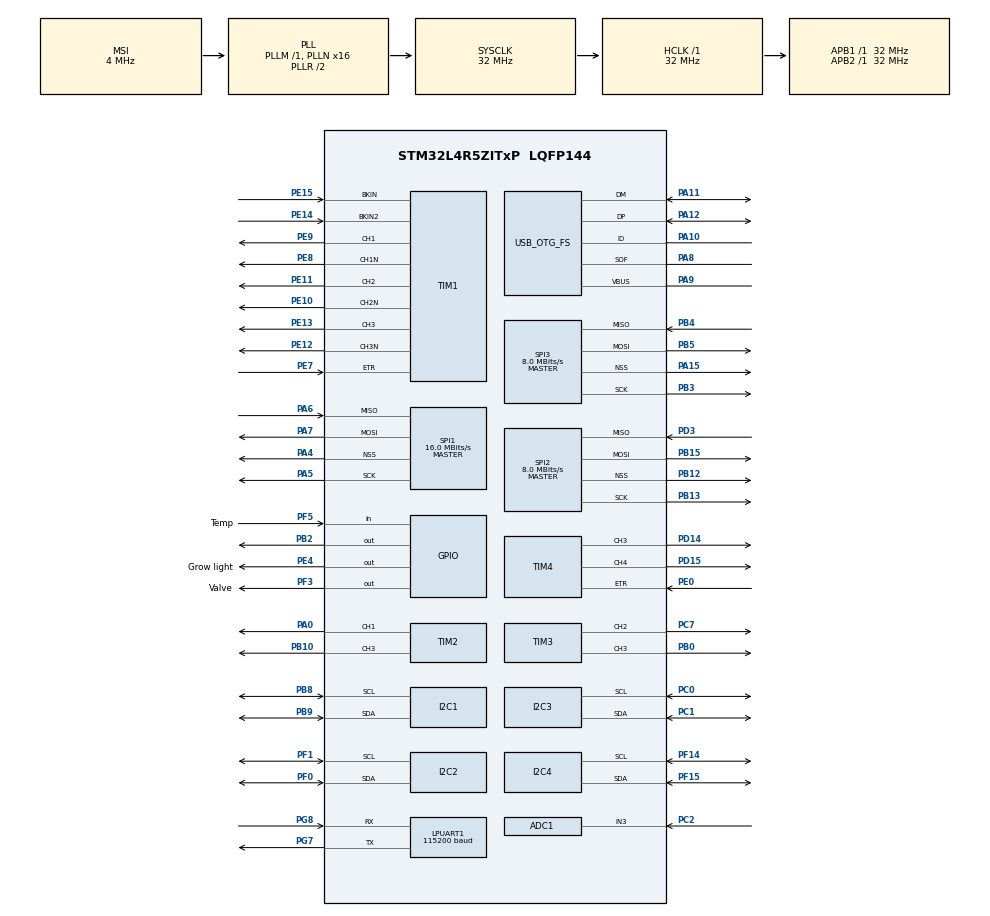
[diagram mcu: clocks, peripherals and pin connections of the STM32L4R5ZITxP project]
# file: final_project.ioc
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ADC1.Channel-0\#ChannelRegularConversion=ADC_CHANNEL_3
ADC1.NbrOfConversionFlag=1
ADC1.OffsetNumber-0\#ChannelRegularConversion=ADC_OFFSET_NONE
ADC1.Rank-0\#ChannelRegularConversion=1
ADC1.SamplingTime-0\#ChannelRegularConversion=ADC_SAMPLETIME_2CYCLES_5
ADC1.master=1
I2C1.Timeout=0x00008186
I2C1.Timing=0x00B07CB4
I2C2.Timing=0x00B07CB4
I2C3.Timing=0x00B07CB4
I2C4.Timing=0x00B07CB4
LPUART1.BaudRate=115200
LPUART1.WordLength=UART_WORDLENGTH_8B
Mcu.Family=STM32L4
Mcu.Name=STM32L4R5ZITxP
Mcu.Package=LQFP144
NVIC.PriorityGroup=NVIC_PRIORITYGROUP_4
PA0.Signal=S_TIM2_CH1
PA1.Signal=ADCx_IN6
PA10.Mode=OTG/Dual_Role_Device
PA10.Signal=USB_OTG_FS_ID
PA11.Mode=OTG/Dual_Role_Device
PA11.Signal=USB_OTG_FS_DM
PA12.Mode=OTG/Dual_Role_Device
PA12.Signal=USB_OTG_FS_DP
PA13\ (JTMS/SWDIO).Mode=Serial_Wire
PA13\ (JTMS/SWDIO).Signal=SYS_JTMS-SWDIO
PA14\ (JTCK/SWCLK).Mode=Serial_Wire
PA14\ (JTCK/SWCLK).Signal=SYS_JTCK-SWCLK
PA15\ (JTDI).Mode=NSS_Signal_Hard_Output
PA15\ (JTDI).Signal=SPI3_NSS
PA3.Signal=ADCx_IN8
PA4.Mode=NSS_Signal_Hard_Output
PA4.Signal=SPI1_NSS
PA5.Mode=Full_Duplex_Master
PA5.Signal=SPI1_SCK
PA6.Mode=Full_Duplex_Master
PA6.Signal=SPI1_MISO
PA7.Mode=Full_Duplex_Master
PA7.Signal=SPI1_MOSI
PA8.Mode=Activate_SOF_FS
PA8.Signal=USB_OTG_FS_SOF
PA9.Mode=Activate_VBUS
PA9.Signal=USB_OTG_FS_VBUS
PB0.Signal=S_TIM3_CH3
PB1.Signal=ADCx_IN16
PB10.Signal=S_TIM2_CH3
PB12.Mode=NSS_Signal_Hard_Output
PB12.Signal=SPI2_NSS
PB13.Mode=Full_Duplex_Master
PB13.Signal=SPI2_SCK
PB15.Mode=Full_Duplex_Master
PB15.Signal=SPI2_MOSI
PB2.Signal=GPIO_Output
PB3\ (JTDO/TRACESWO).Mode=Full_Duplex_Master
PB3\ (JTDO/TRACESWO).Signal=SPI3_SCK
PB4\ (NJTRST).Mode=Full_Duplex_Master
PB4\ (NJTRST).Signal=SPI3_MISO
PB5.Mode=Full_Duplex_Master
PB5.Signal=SPI3_MOSI
PB6.Signal=COMP2_INP
PB8.GPIO_Pu=GPIO_PULLUP
PB8.Mode=I2C
PB8.Signal=I2C1_SCL
PB9.GPIO_Pu=GPIO_PULLUP
PB9.Mode=I2C
PB9.Signal=I2C1_SDA
PC0.Mode=I2C
PC0.Signal=I2C3_SCL
PC1.Mode=I2C
PC1.Signal=I2C3_SDA
PC10.Signal=SDMMC1_D2
PC11.Signal=SDMMC1_D3
PC12.Signal=SDMMC1_CK
PC13.Mode=SYS_WakeUp1
PC13.Signal=SYS_WKUP2
PC14-OSC32_IN\ (PC14).Mode=LSE-External-Oscillator
PC14-OSC32_IN\ (PC14).Signal=RCC_OSC32_IN
PC15-OSC32_OUT\ (PC15).Mode=LSE-External-Oscillator
PC15-OSC32_OUT\ (PC15).Signal=RCC_OSC32_OUT
PC2.Signal=ADCx_IN3
PC3.Signal=ADCx_IN4
PC4.Signal=ADCx_IN13
PC5.Signal=ADCx_IN14
PC6.Signal=SAI2_MCLK_A
PC7.Signal=S_TIM3_CH2
PC8.Signal=SDMMC1_D0
PC9.Signal=SDMMC1_D1
PD0.Signal=CAN1_RX
PD14.Signal=S_TIM4_CH3
PD15.Signal=S_TIM4_CH4
PD2.Signal=SDMMC1_CMD
PD3.Mode=Full_Duplex_Master
PD3.Signal=SPI2_MISO
PD4.Signal=USART2_RTS
PD5.Signal=USART2_TX
PD6.Signal=USART2_RX
PD8.Signal=USART3_TX
PD9.Signal=USART3_RX
PE0.Signal=S_TIM4_ETR
PE10.Mode=PWM Generation2 CH2 CH2N
PE10.Signal=TIM1_CH2N
PE11.Signal=S_TIM1_CH2
PE12.Mode=PWM Generation3 CH3 CH3N
PE12.Signal=TIM1_CH3N
PE13.Signal=S_TIM1_CH3
PE14.Mode=Activate-Break-Input-2
PE14.Signal=TIM1_BKIN2
PE15.Mode=Activate-Break-Input
PE15.Signal=TIM1_BKIN
PE2.Signal=SAI1_MCLK_A
PE3.Signal=SAI1_SD_B
PE4.GPIO_Label=Grow light
PE4.Signal=GPIO_Output
PE7.Signal=S_TIM1_ETR
PE8.Mode=PWM Generation1 CH1 CH1N
PE8.Signal=TIM1_CH1N
PE9.Signal=S_TIM1_CH1
PF0.GPIO_Pu=GPIO_PULLUP
PF0.Mode=I2C
PF0.Signal=I2C2_SDA
PF1.GPIO_Pu=GPIO_PULLUP
PF1.Mode=I2C
PF1.Signal=I2C2_SCL
PF14.Mode=I2C
PF14.Signal=I2C4_SCL
PF15.Mode=I2C
PF15.Signal=I2C4_SDA
PF2.GPIO_Pu=GPIO_PULLUP
PF2.Signal=I2C2_SMBA
PF3.GPIO_Label=Valve
PF3.Signal=GPIO_Output
PF5.GPIO_Label=Temp
PF5.Signal=GPIO_Input
PF7.Signal=SAI1_MCLK_B
PG7.Mode=Asynchronous
PG7.Signal=LPUART1_TX
PG8.Mode=Asynchronous
PG8.Signal=LPUART1_RX
PH0-OSC_IN\ (PH0).Mode=HSE-External-Oscillator
PH0-OSC_IN\ (PH0).Signal=RCC_OSC_IN
PH1-OSC_OUT\ (PH1).Mode=HSE-External-Oscillator
PH1-OSC_OUT\ (PH1).Signal=RCC_OSC_OUT
ProjectManager.HeapSize=0x200
ProjectManager.StackSize=0x400
ProjectManager.TargetToolchain=STM32CubeIDE
RCC.ADCFreq_Value=48000000
RCC.AHBFreq_Value=32000000
RCC.APB1Freq_Value=32000000
RCC.APB1TimFreq_Value=32000000
RCC.APB2Freq_Value=32000000
RCC.APB2TimFreq_Value=32000000
RCC.CortexFreq_Value=32000000
RCC.HCLKFreq_Value=32000000
RCC.HSE_VALUE=8000000
RCC.HSI48_VALUE=48000000
RCC.HSI_VALUE=16000000
RCC.MSI_VALUE=4000000
RCC.PLLN=16
RCC.PLLSAI1N=24
RCC.SYSCLKFreq_VALUE=32000000
RCC.SYSCLKSource=RCC_SYSCLKSOURCE_PLLCLK
RCC.USBFreq_Value=48000000
RCC.VCOOutputFreq_Value=64000000
SH.ADCx_IN13.0=ADC1_IN13
SH.ADCx_IN14.0=ADC1_IN14
SH.ADCx_IN16.0=ADC1_IN16
SH.ADCx_IN3.0=ADC1_IN3,IN3-Single-Ended
SH.ADCx_IN4.0=ADC1_IN4
SH.ADCx_IN6.0=ADC1_IN6
SH.ADCx_IN8.0=ADC1_IN8
SH.S_TIM1_CH1.0=TIM1_CH1,PWM Generation1 CH1 CH1N
SH.S_TIM1_CH2.0=TIM1_CH2,PWM Generation2 CH2 CH2N
SH.S_TIM1_CH3.0=TIM1_CH3,PWM Generation3 CH3 CH3N
SH.S_TIM1_ETR.0=TIM1_ETR,ETR-as-clearing-source
SH.S_TIM2_CH1.0=TIM2_CH1,PWM Generation1 CH1
SH.S_TIM2_CH3.0=TIM2_CH3,PWM Generation3 CH3
SH.S_TIM3_CH2.0=TIM3_CH2,PWM Generation2 CH2
SH.S_TIM3_CH3.0=TIM3_CH3,PWM Generation3 CH3
SH.S_TIM4_CH3.0=TIM4_CH3,PWM Generation3 CH3
SH.S_TIM4_CH4.0=TIM4_CH4,PWM Generation4 CH4
SH.S_TIM4_ETR.0=TIM4_ETR,ETR-as-clearing-source
SPI1.BaudRatePrescaler=SPI_BAUDRATEPRESCALER_2
SPI1.CalculateBaudRate=16.0 MBits/s
SPI1.DataSize=SPI_DATASIZE_8BIT
SPI1.Direction=SPI_DIRECTION_2LINES
SPI1.Mode=SPI_MODE_MASTER
SPI1.NSSPMode=SPI_NSS_PULSE_DISABLE
SPI1.VirtualNSS=VM_NSSHARD
SPI1.VirtualType=VM_MASTER
SPI2.BaudRatePrescaler=SPI_BAUDRATEPRESCALER_4
SPI2.CalculateBaudRate=8.0 MBits/s
SPI2.DataSize=SPI_DATASIZE_8BIT
SPI2.Direction=SPI_DIRECTION_2LINES
SPI2.Mode=SPI_MODE_MASTER
SPI2.NSSPMode=SPI_NSS_PULSE_DISABLE
SPI2.VirtualNSS=VM_NSSHARD
SPI2.VirtualType=VM_MASTER
SPI3.BaudRatePrescaler=SPI_BAUDRATEPRESCALER_4
SPI3.CalculateBaudRate=8.0 MBits/s
SPI3.DataSize=SPI_DATASIZE_8BIT
SPI3.Direction=SPI_DIRECTION_2LINES
SPI3.Mode=SPI_MODE_MASTER
SPI3.NSSPMode=SPI_NSS_PULSE_DISABLE
SPI3.VirtualNSS=VM_NSSHARD
SPI3.VirtualType=VM_MASTER
TIM1.Channel-PWM\ Generation1\ CH1\ CH1N=TIM_CHANNEL_1
TIM1.Channel-PWM\ Generation2\ CH2\ CH2N=TIM_CHANNEL_2
TIM1.Channel-PWM\ Generation3\ CH3\ CH3N=TIM_CHANNEL_3
TIM2.Channel-PWM\ Generation1\ CH1=TIM_CHANNEL_1
TIM2.Channel-PWM\ Generation3\ CH3=TIM_CHANNEL_3
TIM3.Channel-PWM\ Generation2\ CH2=TIM_CHANNEL_2
TIM3.Channel-PWM\ Generation3\ CH3=TIM_CHANNEL_3
TIM4.Channel-PWM\ Generation3\ CH3=TIM_CHANNEL_3
TIM4.Channel-PWM\ Generation4\ CH4=TIM_CHANNEL_4
board=NUCLEO-L4R5ZI-P

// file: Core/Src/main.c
/* USER CODE BEGIN Header */
/**
 ******************************************************************************
 * @file           : main.c
 * @brief          : Main program body
 ******************************************************************************
 * @attention
 *
 * Copyright (c) 2025 STMicroelectronics.
 * All rights reserved.
 *
 * This software is licensed under terms that can be found in the LICENSE file
 * in the root directory of this software component.
 * If no LICENSE file comes with this software, it is provided AS-IS.
 *
 ******************************************************************************
 */
/* USER CODE END Header */
#include "main.h"
#include "adc.h"
#include "gpio.h"
#include "i2c.h"
#include "spi.h"
#include "tim.h"
#include "usart.h"
#include "usb_otg.h"

/* USER CODE BEGIN Includes */

// std
#include <math.h>
#include <stdint.h>
#include <stdio.h>
#include <string.h>

// display
#include "bigdisplay.h"
// touch
#include "touch.h"
// temp and humidity
#include "si7021.h"
// soil
#include "soil.h"
// light sensor
#include "lightsensor.h"
// pump
#include "pump.h"
// camera
#include "camera.h"

/* USER CODE END Includes */

/* USER CODE BEGIN PV */

// idle = 1: idle and free to receive fast interrupts
int idle = 1;

// Tamagotchi feeling: 1 happy, 0 sad
int tamagotchi_feeling = 1;

/* USER CODE END PV */

void SystemClock_Config(void);
void PeriphCommonClock_Config(void);
/* USER CODE BEGIN PFP */

void draw_screen(void);

/* USER CODE END PFP */

/* USER CODE BEGIN 0 */

int __io_putchar(int ch) {
  HAL_UART_Transmit(&hlpuart1, (uint8_t *)&ch, 1, 10);
  return ch;
}

float hum_air = 0.0f;
float temp_air = 0.0f;
uint16_t cap_soil = 0;
float temp_soil = 0.0f;
uint16_t light_value = 0;
int hum_air_int;
int temp_air_int;
int temp_soil_int;
int avg_temp;
int avg_temp_f;

int water_interval_days = 7;
int wet_threshold = 800;
int light_threshold = 1000;

// Button dimensions
int button_width = 40;
int button_height = 30;

// Water interval buttons (horizontal layout, positioned to right of camera)
int water_interval_minus_x = 290;
int water_interval_minus_y = 100;
int water_interval_plus_x = 430;
int water_interval_plus_y = 100;

// Wet threshold buttons (horizontal layout)
int wet_threshold_minus_x = 290;
int wet_threshold_minus_y = 140;
int wet_threshold_plus_x = 430;
int wet_threshold_plus_y = 140;

// Light threshold buttons (horizontal layout)
int light_threshold_minus_x = 290;
int light_threshold_minus_y = 180;
int light_threshold_plus_x = 430;
int light_threshold_plus_y = 180;

// Water now button
int water_now_x = 290;
int water_now_y = 220;
/* USER CODE END 0 */

int main(void) {

  /* MCU Configuration--------------------------------------------------------*/

  /* Reset of all peripherals, Initializes the Flash interface and the Systick.
   */
  HAL_Init();

  /* Configure the system clock */
  SystemClock_Config();

  /* Configure the peripherals common clocks */
  PeriphCommonClock_Config();

  /* Initialize all configured peripherals */
  MX_GPIO_Init();
  MX_ADC1_Init();
  MX_SPI1_Init();
  MX_SPI2_Init();
  MX_SPI3_Init();
  MX_I2C1_Init();
  MX_I2C2_Init();
  MX_I2C3_Init();
  MX_I2C4_Init();
  MX_LPUART1_UART_Init();
  MX_TIM1_Init();
  MX_TIM2_Init();
  MX_TIM3_Init();
  MX_TIM4_Init();
  MX_USB_OTG_FS_USB_Init();
  /* USER CODE BEGIN 2 */

  ArduCam_Init_YCbCr();

  printf("Hello from Nucleo-L4R5ZI-P!\r\n");
  // pump
  pump_init();

  // screen
  TFT_Init();

  if (HAL_I2C_IsDeviceReady(&hi2c2, SOIL_ADDR, 3, 100) == HAL_OK)
    printf("Soil sensor detected\r\n");
  else
    printf("Soil sensor NOT detected\r\n");

  if (TOUCH_Init() != HAL_OK) {
    printf("Touch controller init FAILED\r\n");
  } else {
    printf("Touch controller init OK\r\n");
  }

  uint16_t read_value = 0;
  // initialize
  bh1750_init(BH1750_ADDR);

  hum_air = 0.0f;
  temp_air = 0.0f;
  cap_soil = 0;
  temp_soil = 0.0f;
  light_value = 0;

  TFT_FillScreen(COLOR_WHITE);

  int photo_cycle = 0;

  /* USER CODE END 2 */

  /* Infinite loop */
  while (1) {

    /* USER CODE BEGIN 3 */

    // Take a photo and draw it every 10 cycles
    if (photo_cycle <= 0) {
      SingleCapTransfer_YCbCr(0, 0, camera_buf);
      TFT_DrawRGB888Buffer(20, 100, 320, 240, camera_buf, 2);
      photo_cycle = 10;
    } else {
      photo_cycle--;
    }

    hum_air = si7021_read_humidity();
    temp_air = si7021_read_temperature();

    // Read soil sensor
    cap_soil = soil_read_capacitance();
    temp_soil = soil_read_temperature();
    hum_air_int = (int)hum_air;
    temp_air_int = (int)temp_air;
    temp_soil_int = (int)temp_soil;
    avg_temp = (temp_air_int + temp_soil_int) / 2;
    avg_temp_f = (temp_air_int + temp_soil_int) / 2 * 9 / 5 + 32;

    light_value = bh1750_read(BH1750_ADDR);

    // print values of sensors
    printf("AirRH: %d %%  \r\n", hum_air_int);
    printf("AirTemp: %d C \r\n", temp_air_int);
    printf("SoilCap: %u  \r\n", cap_soil);
    printf("SoilTemp: %d C\r\n", temp_soil_int);
    printf("Light: %u  \r\n", light_value);

    int moisture_good = 1;
    if (cap_soil < wet_threshold) {
      moisture_good = 0;
    }

    int light_good = 1;
    if (light_value < light_threshold) {
      light_good = 0;
    }

    TFT_PrintfAt(50, 10, COLOR_BLACK, 3, "TAMAGOTCHI FLOWER POT");

    TFT_FillRect(90, 240, 150, 20, COLOR_WHITE);
    if (moisture_good) {
      TFT_PrintfAt(10, 240, COLOR_BLACK, 2, "Water: Wet (%d) \r\n", cap_soil);
    } else {
      TFT_PrintfAt(10, 240, COLOR_BLACK, 2, "Water: Dry (%d) \r\n", cap_soil);
    }

    TFT_FillRect(90, 260, 180, 20, COLOR_WHITE);
    if (light_good) {
      TFT_PrintfAt(10, 260, COLOR_BLACK, 2, "Light: Bright (%d) \r\n",
                   light_value);
    } else {
      TFT_PrintfAt(10, 260, COLOR_BLACK, 2, "Light: Dim (%d) \r\n",
                   light_value);
    }

    TFT_FillRect(120, 280, 60, 20, COLOR_WHITE);
    TFT_PrintfAt(10, 280, COLOR_BLACK, 2, "Humidity: %d%% \r\n", hum_air_int);

    TFT_FillRect(10, 300, 150, 20, COLOR_WHITE);
    TFT_PrintfAt(10, 300, COLOR_BLACK, 2, "%d C %d F \r\n", avg_temp,
                 avg_temp_f);

    // Draw all buttons
    // Water interval buttons
    TFT_FillRect(water_interval_minus_x - 1, water_interval_minus_y - 1,
                 button_width + 2, button_height + 2, COLOR_BLACK);
    TFT_FillRect(water_interval_minus_x, water_interval_minus_y, button_width,
                 button_height, COLOR_RED);
    TFT_PrintfAt(water_interval_minus_x + 15, water_interval_minus_y + 8,
                 COLOR_BLACK, 2, "-");

    TFT_FillRect(water_interval_plus_x - 1, water_interval_plus_y - 1,
                 button_width + 2, button_height + 2, COLOR_BLACK);
    TFT_FillRect(water_interval_plus_x, water_interval_plus_y, button_width,
                 button_height, COLOR_GREEN);
    TFT_PrintfAt(water_interval_plus_x + 15, water_interval_plus_y + 8,
                 COLOR_BLACK, 2, "+");

    // Draw label for water interval
    TFT_FillRect(water_interval_minus_x + button_width + 5,
                 water_interval_minus_y, 70, 20, COLOR_WHITE);
    TFT_PrintfAt(water_interval_minus_x + button_width + 5,
                 water_interval_minus_y, COLOR_BLACK, 2, "%d days",
                 water_interval_days);

    // Wet threshold buttons
    TFT_FillRect(wet_threshold_minus_x - 1, wet_threshold_minus_y - 1,
                 button_width + 2, button_height + 2, COLOR_BLACK);
    TFT_FillRect(wet_threshold_minus_x, wet_threshold_minus_y, button_width,
                 button_height, COLOR_RED);
    TFT_PrintfAt(wet_threshold_minus_x + 15, wet_threshold_minus_y + 8,
                 COLOR_BLACK, 2, "-");

    TFT_FillRect(wet_threshold_plus_x - 1, wet_threshold_plus_y - 1,
                 button_width + 2, button_height + 2, COLOR_BLACK);
    TFT_FillRect(wet_threshold_plus_x, wet_threshold_plus_y, button_width,
                 button_height, COLOR_GREEN);
    TFT_PrintfAt(wet_threshold_plus_x + 15, wet_threshold_plus_y + 8,
                 COLOR_BLACK, 2, "+");

    // Draw label for wet threshold
    TFT_FillRect(wet_threshold_minus_x + button_width + 5,
                 wet_threshold_minus_y, 70, 20, COLOR_WHITE);
    TFT_PrintfAt(wet_threshold_minus_x + button_width + 5,
                 wet_threshold_minus_y, COLOR_BLACK, 2, "W: %d", wet_threshold);

    // Light threshold buttons
    TFT_FillRect(light_threshold_minus_x - 1, light_threshold_minus_y - 1,
                 button_width + 2, button_height + 2, COLOR_BLACK);
    TFT_FillRect(light_threshold_minus_x, light_threshold_minus_y, button_width,
                 button_height, COLOR_RED);
    TFT_PrintfAt(light_threshold_minus_x + 15, light_threshold_minus_y + 8,
                 COLOR_BLACK, 2, "-");

    TFT_FillRect(light_threshold_plus_x - 1, light_threshold_plus_y - 1,
                 button_width + 2, button_height + 2, COLOR_BLACK);
    TFT_FillRect(light_threshold_plus_x, light_threshold_plus_y, button_width,
                 button_height, COLOR_GREEN);
    TFT_PrintfAt(light_threshold_plus_x + 15, light_threshold_plus_y + 8,
                 COLOR_BLACK, 2, "+");

    // Draw label for light threshold
    TFT_FillRect(light_threshold_minus_x + button_width + 5,
                 light_threshold_minus_y, 90, 20, COLOR_WHITE);
    TFT_PrintfAt(light_threshold_minus_x + button_width + 5,
                 light_threshold_minus_y, COLOR_BLACK, 2, "L: %d",
                 light_threshold);

    // Water now button (spans from left of - button to right of + button)
    int water_button_width =
        (water_interval_plus_x + button_width) - water_now_x;
    TFT_FillRect(water_now_x - 1, water_now_y - 1, water_button_width + 2,
                 button_height + 2, COLOR_BLACK);
    TFT_FillRect(water_now_x, water_now_y, water_button_width, button_height,
                 COLOR_GREEN);
    TFT_PrintfAt(water_now_x + (water_button_width / 2) - 35, water_now_y + 6,
                 COLOR_BLACK, 2, "Water");

    tamagotchi_feeling = 0;
    if (light_good) {
      tamagotchi_feeling = 1;
    }

    TFT_FillRect(10, 70, 300, 30, COLOR_WHITE);
    if (tamagotchi_feeling == 1) {
      TFT_PrintfAt(10, 70, COLOR_BLACK, 3, "Plant is happy :)");
    } else {
      TFT_PrintfAt(10, 70, COLOR_BLACK, 3, "Plant is sad :(");
    }
  }
  /* USER CODE END 3 */
}

void SystemClock_Config(void) {
  RCC_OscInitTypeDef RCC_OscInitStruct = {0};
  RCC_ClkInitTypeDef RCC_ClkInitStruct = {0};

  /** Configure the main internal regulator output voltage
   */
  if (HAL_PWREx_ControlVoltageScaling(PWR_REGULATOR_VOLTAGE_SCALE1) != HAL_OK) {
    Error_Handler();
  }

  /** Configure LSE Drive Capability
   */
  HAL_PWR_EnableBkUpAccess();
  __HAL_RCC_LSEDRIVE_CONFIG(RCC_LSEDRIVE_LOW);

  /** Initializes the RCC Oscillators according to the specified parameters
   * in the RCC_OscInitTypeDef structure.
   */
  RCC_OscInitStruct.OscillatorType =
      RCC_OSCILLATORTYPE_LSE | RCC_OSCILLATORTYPE_MSI;
  RCC_OscInitStruct.LSEState = RCC_LSE_ON;
  RCC_OscInitStruct.MSIState = RCC_MSI_ON;
  RCC_OscInitStruct.MSICalibrationValue = 0;
  RCC_OscInitStruct.MSIClockRange = RCC_MSIRANGE_6;
  RCC_OscInitStruct.PLL.PLLState = RCC_PLL_ON;
  RCC_OscInitStruct.PLL.PLLSource = RCC_PLLSOURCE_MSI;
  RCC_OscInitStruct.PLL.PLLM = 1;
  RCC_OscInitStruct.PLL.PLLN = 16;
  RCC_OscInitStruct.PLL.PLLP = RCC_PLLP_DIV2;
  RCC_OscInitStruct.PLL.PLLQ = RCC_PLLQ_DIV2;
  RCC_OscInitStruct.PLL.PLLR = RCC_PLLR_DIV2;
  if (HAL_RCC_OscConfig(&RCC_OscInitStruct) != HAL_OK) {
    Error_Handler();
  }

  /** Initializes the CPU, AHB and APB buses clocks
   */
  RCC_ClkInitStruct.ClockType = RCC_CLOCKTYPE_HCLK | RCC_CLOCKTYPE_SYSCLK |
                                RCC_CLOCKTYPE_PCLK1 | RCC_CLOCKTYPE_PCLK2;
  RCC_ClkInitStruct.SYSCLKSource = RCC_SYSCLKSOURCE_PLLCLK;
  RCC_ClkInitStruct.AHBCLKDivider = RCC_SYSCLK_DIV1;
  RCC_ClkInitStruct.APB1CLKDivider = RCC_HCLK_DIV1;
  RCC_ClkInitStruct.APB2CLKDivider = RCC_HCLK_DIV1;

  if (HAL_RCC_ClockConfig(&RCC_ClkInitStruct, FLASH_LATENCY_1) != HAL_OK) {
    Error_Handler();
  }

  /** Enable MSI Auto calibration
   */
  HAL_RCCEx_EnableMSIPLLMode();
}

void PeriphCommonClock_Config(void) {
  RCC_PeriphCLKInitTypeDef PeriphClkInit = {0};

  /** Initializes the peripherals clock
   */
  PeriphClkInit.PeriphClockSelection = RCC_PERIPHCLK_USB | RCC_PERIPHCLK_ADC;
  PeriphClkInit.AdcClockSelection = RCC_ADCCLKSOURCE_PLLSAI1;
  PeriphClkInit.UsbClockSelection = RCC_USBCLKSOURCE_PLLSAI1;
  PeriphClkInit.PLLSAI1.PLLSAI1Source = RCC_PLLSOURCE_MSI;
  PeriphClkInit.PLLSAI1.PLLSAI1M = 1;
  PeriphClkInit.PLLSAI1.PLLSAI1N = 24;
  PeriphClkInit.PLLSAI1.PLLSAI1P = RCC_PLLP_DIV2;
  PeriphClkInit.PLLSAI1.PLLSAI1Q = RCC_PLLQ_DIV2;
  PeriphClkInit.PLLSAI1.PLLSAI1R = RCC_PLLR_DIV2;
  PeriphClkInit.PLLSAI1.PLLSAI1ClockOut =
      RCC_PLLSAI1_48M2CLK | RCC_PLLSAI1_ADC1CLK;
  if (HAL_RCCEx_PeriphCLKConfig(&PeriphClkInit) != HAL_OK) {
    Error_Handler();
  }
}

/* USER CODE BEGIN 4 */

// touch callback
void HAL_GPIO_EXTI_Callback(uint16_t GPIO_Pin) {

  if (idle == 0) {
    return;
  }
  if (GPIO_Pin == TOUCH_INT_Pin) {
    idle = 0;
    TOUCH_TouchPoint tp;
    if (TOUCH_ReadTouch(&tp) == HAL_OK && tp.touched) {
      printf("Touch: x=%u y=%u\r\n", tp.x, tp.y);

      // Water interval minus button
      if (tp.x >= water_interval_minus_x &&
          tp.x <= water_interval_minus_x + button_width &&
          tp.y >= water_interval_minus_y &&
          tp.y <= water_interval_minus_y + button_height) {
        printf("Water interval minus pressed\r\n");
        if (water_interval_days > 1) {
          water_interval_days--;
        }
        HAL_Delay(200);
      }
      // Water interval plus button
      else if (tp.x >= water_interval_plus_x &&
               tp.x <= water_interval_plus_x + button_width &&
               tp.y >= water_interval_plus_y &&
               tp.y <= water_interval_plus_y + button_height) {
        printf("Water interval plus pressed\r\n");
        water_interval_days++;
        HAL_Delay(200);
      }
      // Wet threshold minus button
      else if (tp.x >= wet_threshold_minus_x &&
               tp.x <= wet_threshold_minus_x + button_width &&
               tp.y >= wet_threshold_minus_y &&
               tp.y <= wet_threshold_minus_y + button_height) {
        printf("Wet threshold minus pressed\r\n");
        if (wet_threshold > 100) {
          wet_threshold -= 50;
        }
        HAL_Delay(200);
      }
      // Wet threshold plus button
      else if (tp.x >= wet_threshold_plus_x &&
               tp.x <= wet_threshold_plus_x + button_width &&
               tp.y >= wet_threshold_plus_y &&
               tp.y <= wet_threshold_plus_y + button_height) {
        printf("Wet threshold plus pressed\r\n");
        wet_threshold += 50;
        HAL_Delay(200);
      }
      // Light threshold minus button
      else if (tp.x >= light_threshold_minus_x &&
               tp.x <= light_threshold_minus_x + button_width &&
               tp.y >= light_threshold_minus_y &&
               tp.y <= light_threshold_minus_y + button_height) {
        printf("Light threshold minus pressed\r\n");
        if (light_threshold > 100) {
          light_threshold -= 100;
        }
        HAL_Delay(200);
      }
      // Light threshold plus button
      else if (tp.x >= light_threshold_plus_x &&
               tp.x <= light_threshold_plus_x + button_width &&
               tp.y >= light_threshold_plus_y &&
               tp.y <= light_threshold_plus_y + button_height) {
        printf("Light threshold plus pressed\r\n");
        light_threshold += 100;
        HAL_Delay(200);
      }
      // Water now button (spans from left of - button to right of + button)
      else {
        int water_button_width =
            (water_interval_plus_x + button_width) - water_now_x;
        if (tp.x >= water_now_x && tp.x <= water_now_x + water_button_width &&
            tp.y >= water_now_y && tp.y <= water_now_y + button_height) {
          printf("Water now pressed\r\n");
          pump_on();
          HAL_Delay(2000);
          pump_off();
          HAL_Delay(200);
        }
      }
    }
    idle = 1;
  }
}

/* USER CODE END 4 */

void Error_Handler(void) {
  __disable_irq();
  while (1) {
  }
}
